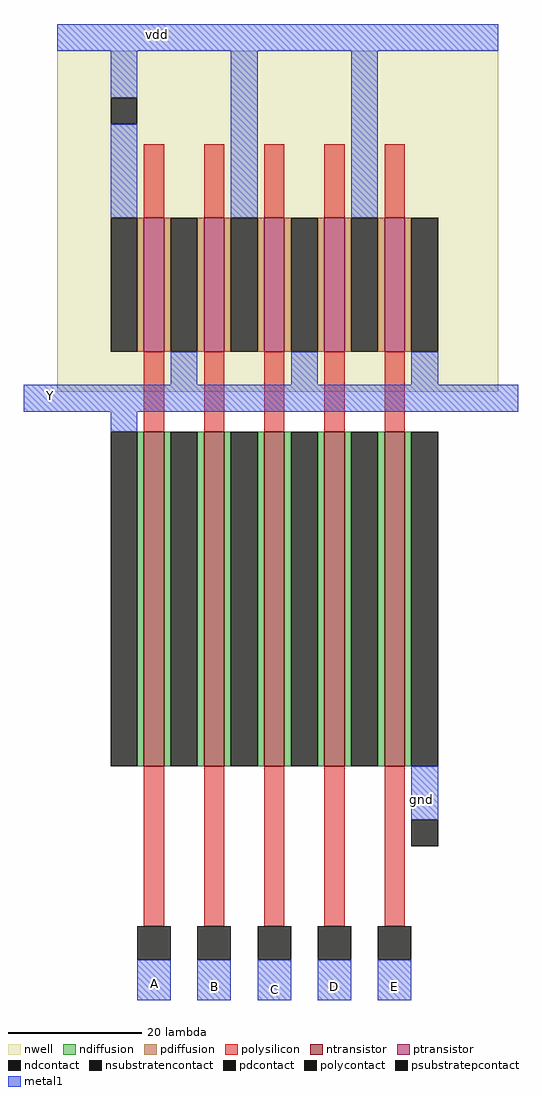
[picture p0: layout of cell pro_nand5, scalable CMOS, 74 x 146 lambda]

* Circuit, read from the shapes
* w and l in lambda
.subckt pro_nand5 A B C D E Y gnd vdd
M1 n1 A Y gnd nfet w=50 l=3
M2 n2 B n1 gnd nfet w=50 l=3
M3 n3 C n2 gnd nfet w=50 l=3
M4 n4 D n3 gnd nfet w=50 l=3
M5 gnd E n4 gnd nfet w=50 l=3
M6 Y A vdd vdd pfet w=20 l=3
M7 vdd B Y vdd pfet w=20 l=3
M8 Y C vdd vdd pfet w=20 l=3
M9 vdd D Y vdd pfet w=20 l=3
M10 Y E vdd vdd pfet w=20 l=3
.ends

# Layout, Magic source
magic
tech scmos
<< nwell >>
rect -8 -6 58 45
<< ntransistor >>
rect 5 -62 8 -12
rect 14 -62 17 -12
rect 23 -62 26 -12
rect 32 -62 35 -12
rect 41 -62 44 -12
<< ptransistor >>
rect 5 0 8 20
rect 14 0 17 20
rect 23 0 26 20
rect 32 0 35 20
rect 41 0 44 20
<< ndiffusion >>
rect 4 -62 5 -12
rect 8 -62 9 -12
rect 13 -62 14 -12
rect 17 -62 18 -12
rect 22 -62 23 -12
rect 26 -62 27 -12
rect 31 -62 32 -12
rect 35 -62 36 -12
rect 40 -62 41 -12
rect 44 -62 45 -12
<< pdiffusion >>
rect 4 0 5 20
rect 8 0 9 20
rect 13 0 14 20
rect 17 0 18 20
rect 22 0 23 20
rect 26 0 27 20
rect 31 0 32 20
rect 35 0 36 20
rect 40 0 41 20
rect 44 0 45 20
<< ndcontact >>
rect 0 -62 4 -12
rect 9 -62 13 -12
rect 18 -62 22 -12
rect 27 -62 31 -12
rect 36 -62 40 -12
rect 45 -62 49 -12
<< pdcontact >>
rect 0 0 4 20
rect 9 0 13 20
rect 18 0 22 20
rect 27 0 31 20
rect 36 0 40 20
rect 45 0 49 20
<< psubstratepcontact >>
rect 45 -74 49 -70
<< nsubstratencontact >>
rect 0 34 4 38
<< polysilicon >>
rect 5 20 8 31
rect 14 20 17 31
rect 23 20 26 31
rect 32 20 35 31
rect 41 20 44 31
rect 5 -12 8 0
rect 14 -12 17 0
rect 23 -12 26 0
rect 32 -12 35 0
rect 41 -12 44 0
rect 5 -86 8 -62
rect 14 -86 17 -62
rect 23 -86 26 -62
rect 32 -86 35 -62
rect 41 -86 44 -62
<< polycontact >>
rect 4 -91 9 -86
rect 13 -91 18 -86
rect 22 -91 27 -86
rect 31 -91 36 -86
rect 40 -91 45 -86
<< metal1 >>
rect -8 45 58 49
rect 0 38 4 45
rect 0 20 4 34
rect 18 20 22 45
rect 36 20 40 45
rect 9 -5 13 0
rect 27 -5 31 0
rect 45 -5 49 0
rect -13 -9 61 -5
rect 0 -12 4 -9
rect 45 -70 49 -62
rect 4 -97 9 -91
rect 13 -97 18 -91
rect 22 -97 27 -91
rect 31 -97 36 -91
rect 40 -97 45 -91
<< labels >>
rlabel metal1 4 -97 9 -92 1 A
rlabel metal1 13 -97 18 -93 1 B
rlabel metal1 22 -97 27 -94 1 C
rlabel metal1 31 -97 36 -93 1 D
rlabel metal1 40 -97 45 -93 1 E
rlabel metal1 45 -69 48 -65 1 gnd
rlabel metal1 5 46 9 49 5 vdd
rlabel metal1 -12 -8 -6 -5 3 Y
<< end >>
